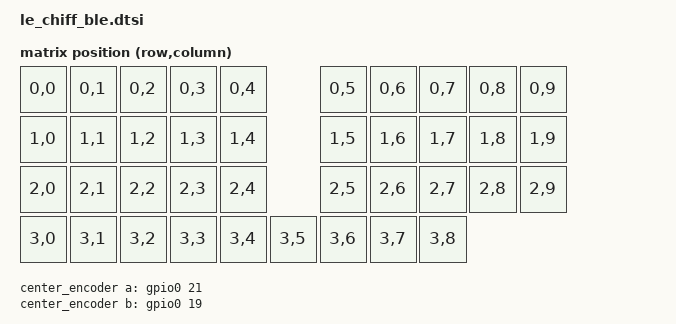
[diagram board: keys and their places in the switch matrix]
/*
 * Copyright (c) 2020 The ZMK Contributors
 *
 * SPDX-License-Identifier: MIT
 */

#include <dt-bindings/led/led.h>
#include <dt-bindings/zmk/matrix_transform.h>
#include "le_chiff_ble-layouts.dtsi"

/ {
    chosen {
        zmk,kscan = &kscan0;
        zmk,physical-layout = &le_chiff_ble_layout;
        zmk,battery = &vbatt;
        zmk,backlight = &backlight;
    };

    backlight: pwmleds {
        compatible = "pwm-leds";
        pwm_led_0: pwm_led_0 {
            pwms = <&pwm0 0 PWM_MSEC(1) PWM_POLARITY_NORMAL>;
        };
    };

    default_transform: keymap_transform_0 {
        compatible = "zmk,matrix-transform";
        rows = <4>;
        columns = <10>;
        map = <
        RC(0,0) RC(0,1) RC(0,2) RC(0,3) RC(0,4)         RC(0,5) RC(0,6) RC(0,7) RC(0,8) RC(0,9)
        RC(1,0) RC(1,1) RC(1,2) RC(1,3) RC(1,4)         RC(1,5) RC(1,6) RC(1,7) RC(1,8) RC(1,9)
        RC(2,0) RC(2,1) RC(2,2) RC(2,3) RC(2,4)          RC(2,5) RC(2,6) RC(2,7) RC(2,8) RC(2,9)
        RC(3,0) RC(3,1) RC(3,2) RC(3,3) RC(3,4) RC(3,5) RC(3,6) RC(3,7) RC(3,8)
        >;
    };

    kscan0: kscan {
        compatible = "zmk,kscan-gpio-matrix";
        label = "KSCAN";
        diode-direction = "col2row";
    };

    center_encoder: encoder_center {
        compatible = "alps,ec11";
        label = "CENTER_ENCODER";
        a-gpios = <&gpio0 21 (GPIO_ACTIVE_HIGH | GPIO_PULL_UP)>;
        b-gpios = <&gpio0 19 (GPIO_ACTIVE_HIGH | GPIO_PULL_UP)>;
        resolution = <4>;
        steps = <40>;
        status = "okay";
    };

    sensors {
        compatible = "zmk,keymap-sensors";
        triggers-per-rotation = <20>;
        sensors = <&center_encoder>;
    };

    // === Cirque Pinnacle2 40mm Trackpad ===
    // Input listener for unibody (no split transport needed -
    // points directly to the I2C device, unlike Sweep-Pro's split architecture)
    glidepoint_listener: glidepoint_listener {
        compatible = "zmk,input-listener";
        device = <&glidepoint>;
        status = "disabled";
    };

    EXT_POWER {
        compatible = "zmk,ext-power-generic";
        control-gpios = <&gpio0 13 GPIO_ACTIVE_HIGH>;
        init-delay-ms = <50>;
    };

    vbatt: vbatt {
        compatible = "zmk,battery-nrf-vddh";
    };

    leds {
        compatible = "gpio-leds";
        red_led: led_0 {
            gpios = <&gpio0 15 GPIO_ACTIVE_HIGH>;
            label = "Red LED";
        };
    };
};

&pinctrl {
    spi0_default: spi0_default {
        group1 {
            psels = <NRF_PSEL(SPIM_SCK, 0, 20)>,
                <NRF_PSEL(SPIM_MOSI, 0, 17)>,
                <NRF_PSEL(SPIM_MISO, 0, 25)>;
        };
    };

    spi0_sleep: spi0_sleep {
        group1 {
            psels = <NRF_PSEL(SPIM_SCK, 0, 20)>,
                <NRF_PSEL(SPIM_MOSI, 0, 17)>,
                <NRF_PSEL(SPIM_MISO, 0, 25)>;
            low-power-enable;
        };
    };

    pwm0_default: pwm0_default {
        group1 {
            psels = <NRF_PSEL(PWM_OUT0, 0, 11)>;
        };
    };

    pwm0_sleep: pwm0_sleep {
        group1 {
            psels = <NRF_PSEL(PWM_OUT0, 0, 11)>;
            low-power-enable;
        };
    };
};

nice_view_spi: &spi0 {
    compatible = "nordic,nrf-spim";
    pinctrl-0 = <&spi0_default>;
    pinctrl-1 = <&spi0_sleep>;
    pinctrl-names = "default", "sleep";
    cs-gpios = <&gpio0 6 GPIO_ACTIVE_HIGH>;
};

&pwm0 {
    status = "okay";
    pinctrl-0 = <&pwm0_default>;
    pinctrl-1 = <&pwm0_sleep>;
    pinctrl-names = "default", "sleep";
};

&adc {
    status = "okay";
};

&gpiote {
    status = "okay";
};

&gpio0 {
    status = "okay";
};

&gpio1 {
    status = "okay";
};
